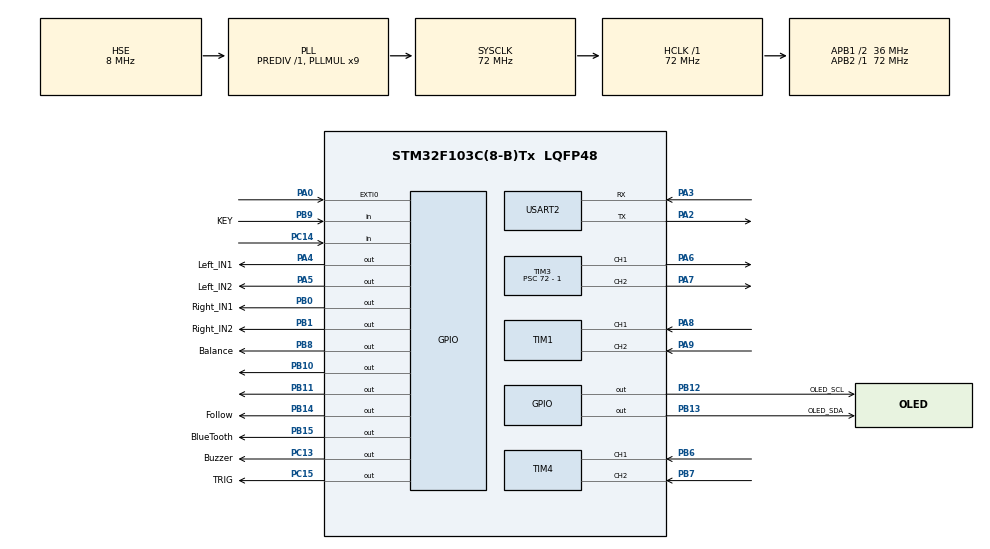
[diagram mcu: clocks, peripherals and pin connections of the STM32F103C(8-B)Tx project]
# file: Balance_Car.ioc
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Mcu.Family=STM32F1
Mcu.Name=STM32F103C(8-B)Tx
Mcu.Package=LQFP48
NVIC.EXTI0_IRQn=true\:0\:0\:false\:false\:true\:true\:true\:true
NVIC.PriorityGroup=NVIC_PRIORITYGROUP_4
NVIC.USART2_IRQn=true\:0\:0\:false\:false\:true\:true\:true\:true
PA0-WKUP.GPIO_PuPd=GPIO_PULLUP
PA0-WKUP.Signal=GPXTI0
PA13.Mode=Serial_Wire
PA13.Signal=SYS_JTMS-SWDIO
PA14.Mode=Serial_Wire
PA14.Signal=SYS_JTCK-SWCLK
PA2.Mode=Asynchronous
PA2.Signal=USART2_TX
PA3.Mode=Asynchronous
PA3.Signal=USART2_RX
PA4.GPIO_Label=Left_IN1
PA4.Signal=GPIO_Output
PA5.GPIO_Label=Left_IN2
PA5.Signal=GPIO_Output
PA6.Signal=S_TIM3_CH1
PA7.Signal=S_TIM3_CH2
PA8.GPIO_PuPd=GPIO_PULLUP
PA8.Signal=S_TIM1_CH1
PA9.GPIO_PuPd=GPIO_PULLUP
PA9.Signal=S_TIM1_CH2
PB0.GPIO_Label=Right_IN1
PB0.Signal=GPIO_Output
PB1.GPIO_Label=Right_IN2
PB1.Signal=GPIO_Output
PB10.GPIO_ModeDefaultOutputPP=GPIO_MODE_OUTPUT_PP
PB10.GPIO_PuPd=GPIO_NOPULL
PB10.Signal=GPIO_Output
PB11.GPIO_ModeDefaultOutputPP=GPIO_MODE_OUTPUT_PP
PB11.GPIO_PuPd=GPIO_NOPULL
PB11.Signal=GPIO_Output
PB12.GPIO_Label=OLED_SCL
PB12.GPIO_ModeDefaultOutputPP=GPIO_MODE_OUTPUT_PP
PB12.GPIO_PuPd=GPIO_NOPULL
PB12.Signal=GPIO_Output
PB13.GPIO_Label=OLED_SDA
PB13.GPIO_ModeDefaultOutputPP=GPIO_MODE_OUTPUT_PP
PB13.GPIO_PuPd=GPIO_NOPULL
PB13.Signal=GPIO_Output
PB14.GPIO_Label=Follow
PB14.Signal=GPIO_Output
PB15.GPIO_Label=BlueTooth
PB15.Signal=GPIO_Output
PB6.GPIO_PuPd=GPIO_PULLUP
PB6.Signal=S_TIM4_CH1
PB7.GPIO_PuPd=GPIO_PULLUP
PB7.Signal=S_TIM4_CH2
PB8.GPIO_Label=Balance
PB8.Signal=GPIO_Output
PB9.GPIO_Label=KEY
PB9.GPIO_PuPd=GPIO_PULLUP
PB9.Signal=GPIO_Input
PC13-TAMPER-RTC.GPIO_Label=Buzzer
PC13-TAMPER-RTC.Signal=GPIO_Output
PC14-OSC32_IN.GPIO_PuPd=GPIO_PULLUP
PC14-OSC32_IN.Signal=GPIO_Input
PC15-OSC32_OUT.GPIO_Label=TRIG
PC15-OSC32_OUT.GPIO_PuPd=GPIO_NOPULL
PC15-OSC32_OUT.GPIO_Speed=GPIO_SPEED_FREQ_HIGH
PC15-OSC32_OUT.Signal=GPIO_Output
PD0-OSC_IN.Mode=HSE-External-Oscillator
PD0-OSC_IN.Signal=RCC_OSC_IN
PD1-OSC_OUT.Mode=HSE-External-Oscillator
PD1-OSC_OUT.Signal=RCC_OSC_OUT
ProjectManager.HeapSize=0x200
ProjectManager.StackSize=0x400
ProjectManager.TargetToolchain=Makefile
RCC.AHBFreq_Value=72000000
RCC.APB1CLKDivider=RCC_HCLK_DIV2
RCC.APB1Freq_Value=36000000
RCC.APB1TimFreq_Value=72000000
RCC.APB2Freq_Value=72000000
RCC.APB2TimFreq_Value=72000000
RCC.HCLKFreq_Value=72000000
RCC.PLLMUL=RCC_PLL_MUL9
RCC.PLLSourceVirtual=RCC_PLLSOURCE_HSE
RCC.SYSCLKFreq_VALUE=72000000
RCC.SYSCLKSource=RCC_SYSCLKSOURCE_PLLCLK
RCC.USBFreq_Value=72000000
SH.S_TIM1_CH1.0=TIM1_CH1,Encoder_Interface
SH.S_TIM1_CH2.0=TIM1_CH2,Encoder_Interface
SH.S_TIM3_CH1.0=TIM3_CH1,PWM Generation1 CH1
SH.S_TIM3_CH2.0=TIM3_CH2,PWM Generation2 CH2
SH.S_TIM4_CH1.0=TIM4_CH1,Encoder_Interface
SH.S_TIM4_CH2.0=TIM4_CH2,Encoder_Interface
TIM1.EncoderMode=TIM_ENCODERMODE_TI12
TIM1.IC1Filter=8
TIM1.IC2Filter=8
TIM2.Period=1000-1
TIM2.Prescaler=720-1
TIM3.AutoReloadPreload=TIM_AUTORELOAD_PRELOAD_DISABLE
TIM3.Channel-PWM\ Generation1\ CH1=TIM_CHANNEL_1
TIM3.Channel-PWM\ Generation2\ CH2=TIM_CHANNEL_2
TIM3.Period=3600-1
TIM3.Prescaler=72 - 1
TIM4.EncoderMode=TIM_ENCODERMODE_TI12
TIM4.IC1Filter=4
TIM4.IC2Filter=4
USART2.VirtualMode=VM_ASYNC
VP_TIM2_VS_ClockSourceINT.Mode=Internal
board=custom

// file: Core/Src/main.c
/* USER CODE BEGIN Header */
/**
  ******************************************************************************
  * @file           : main.c
  * @brief          : Main program body
  ******************************************************************************
  * @attention
  *
  * Copyright (c) 2025 STMicroelectronics.
  * All rights reserved.
  *
  * This software is licensed under terms that can be found in the LICENSE file
  * in the root directory of this software component.
  * If no LICENSE file comes with this software, it is provided AS-IS.
  *
  ******************************************************************************
  */
/* USER CODE END Header */
#include "main.h"
#include "tim.h"
#include "usart.h"
#include "gpio.h"

/* USER CODE BEGIN Includes */
#include "headfile.h"
/* USER CODE END Includes */

void SystemClock_Config(void);

/* USER CODE BEGIN 0 */
volatile uint8_t mpu_data_flag = 0;
/* USER CODE END 0 */

int main(void)
{

  /* MCU Configuration--------------------------------------------------------*/

  /* Reset of all peripherals, Initializes the Flash interface and the Systick. */
  HAL_Init();

  /* Configure the system clock */
  SystemClock_Config();

  /* Initialize all configured peripherals */
  MX_GPIO_Init();
  MX_TIM1_Init();
  MX_TIM2_Init();
  MX_TIM3_Init();
  MX_TIM4_Init();
  MX_USART2_UART_Init();
  /* USER CODE BEGIN 2 */
  System_Init();
  /* USER CODE END 2 */

  /* Infinite loop */
  /* USER CODE BEGIN WHILE */
  OLED_ShowString(1, 3, "HAL Update");
	OLED_ShowString(2, 3, "Balance_Car");

  while (1)
  {

    if(mpu_data_flag)
		{
			Balance();													  // 主控制逻辑
			checkLiftState();  										// 提起检测
			checkFallDown();											// 倒地检测
			detectPutDown(); 											// 着陆检测
			mpu_data_flag = 0;
		}
    /* USER CODE END WHILE */

  }
}

void SystemClock_Config(void)
{
  RCC_OscInitTypeDef RCC_OscInitStruct = {0};
  RCC_ClkInitTypeDef RCC_ClkInitStruct = {0};

  /** Initializes the RCC Oscillators according to the specified parameters
  * in the RCC_OscInitTypeDef structure.
  */
  RCC_OscInitStruct.OscillatorType = RCC_OSCILLATORTYPE_HSE;
  RCC_OscInitStruct.HSEState = RCC_HSE_ON;
  RCC_OscInitStruct.HSEPredivValue = RCC_HSE_PREDIV_DIV1;
  RCC_OscInitStruct.HSIState = RCC_HSI_ON;
  RCC_OscInitStruct.PLL.PLLState = RCC_PLL_ON;
  RCC_OscInitStruct.PLL.PLLSource = RCC_PLLSOURCE_HSE;
  RCC_OscInitStruct.PLL.PLLMUL = RCC_PLL_MUL9;
  if (HAL_RCC_OscConfig(&RCC_OscInitStruct) != HAL_OK)
  {
    Error_Handler();
  }

  /** Initializes the CPU, AHB and APB buses clocks
  */
  RCC_ClkInitStruct.ClockType = RCC_CLOCKTYPE_HCLK|RCC_CLOCKTYPE_SYSCLK
                              |RCC_CLOCKTYPE_PCLK1|RCC_CLOCKTYPE_PCLK2;
  RCC_ClkInitStruct.SYSCLKSource = RCC_SYSCLKSOURCE_PLLCLK;
  RCC_ClkInitStruct.AHBCLKDivider = RCC_SYSCLK_DIV1;
  RCC_ClkInitStruct.APB1CLKDivider = RCC_HCLK_DIV2;
  RCC_ClkInitStruct.APB2CLKDivider = RCC_HCLK_DIV1;

  if (HAL_RCC_ClockConfig(&RCC_ClkInitStruct, FLASH_LATENCY_2) != HAL_OK)
  {
    Error_Handler();
  }
}

/* USER CODE BEGIN 4 */

void HAL_GPIO_EXTI_Callback(uint16_t GPIO_Pin)
{
    if (GPIO_Pin == GPIO_PIN_0)
    {
      mpu_data_flag = 1;
    }
}
void HAL_TIM_PeriodElapsedCallback(TIM_HandleTypeDef *htim)
{
    if(htim == &htim2)
    {
      UpdateSoundLight();
    }
}
/* USER CODE END 4 */

void Error_Handler(void)
{
  __disable_irq();
  while (1)
  {
  }
}
